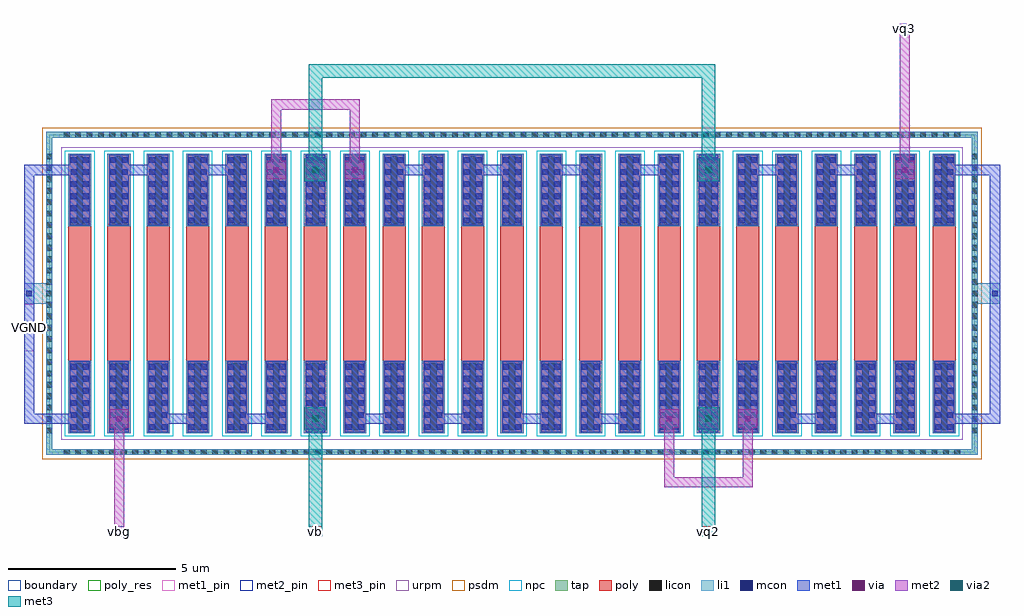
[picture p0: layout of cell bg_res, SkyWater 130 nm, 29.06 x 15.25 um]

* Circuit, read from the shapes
.subckt bg_res VGND vb vbg vq2 vq3
XR1 VGND VGND VGND sky130_fd_pr__res_xhigh_po w=0.69 l=4.04 m=2
XR2 sky130_fd_pr__res_xhigh_po_0p69_CEUZ3P_0/R1_1 vbg VGND sky130_fd_pr__res_xhigh_po w=0.69 l=4.04
XR3 sky130_fd_pr__res_xhigh_po_0p69_CEUZ3P_0/R1_1 sky130_fd_pr__res_xhigh_po_0p69_CEUZ3P_0/R2_2 VGND sky130_fd_pr__res_xhigh_po w=0.69 l=4.04
XR4 sky130_fd_pr__res_xhigh_po_0p69_CEUZ3P_0/R1_3 sky130_fd_pr__res_xhigh_po_0p69_CEUZ3P_0/R2_2 VGND sky130_fd_pr__res_xhigh_po w=0.69 l=4.04
XR5 sky130_fd_pr__res_xhigh_po_0p69_CEUZ3P_0/R1_3 sky130_fd_pr__res_xhigh_po_0p69_CEUZ3P_0/R2_4 VGND sky130_fd_pr__res_xhigh_po w=0.69 l=4.04
XR6 sky130_fd_pr__res_xhigh_po_0p69_CEUZ3P_0/R1_5 sky130_fd_pr__res_xhigh_po_0p69_CEUZ3P_0/R2_4 VGND sky130_fd_pr__res_xhigh_po w=0.69 l=4.04
XR7 sky130_fd_pr__res_xhigh_po_0p69_CEUZ3P_0/R1_16 vb VGND sky130_fd_pr__res_xhigh_po w=0.69 l=4.04
XR8 sky130_fd_pr__res_xhigh_po_0p69_CEUZ3P_0/R1_5 sky130_fd_pr__res_xhigh_po_0p69_CEUZ3P_0/R2_7 VGND sky130_fd_pr__res_xhigh_po w=0.69 l=4.04
XR9 sky130_fd_pr__res_xhigh_po_0p69_CEUZ3P_0/R1_8 sky130_fd_pr__res_xhigh_po_0p69_CEUZ3P_0/R2_7 VGND sky130_fd_pr__res_xhigh_po w=0.69 l=4.04
XR10 sky130_fd_pr__res_xhigh_po_0p69_CEUZ3P_0/R1_8 sky130_fd_pr__res_xhigh_po_0p69_CEUZ3P_0/R2_10 VGND sky130_fd_pr__res_xhigh_po w=0.69 l=4.04
XR11 sky130_fd_pr__res_xhigh_po_0p69_CEUZ3P_0/R1_10 sky130_fd_pr__res_xhigh_po_0p69_CEUZ3P_0/R2_10 VGND sky130_fd_pr__res_xhigh_po w=0.69 l=4.04
XR12 sky130_fd_pr__res_xhigh_po_0p69_CEUZ3P_0/R1_10 sky130_fd_pr__res_xhigh_po_0p69_CEUZ3P_0/R2_11 VGND sky130_fd_pr__res_xhigh_po w=0.69 l=4.04
XR13 sky130_fd_pr__res_xhigh_po_0p69_CEUZ3P_0/R1_12 sky130_fd_pr__res_xhigh_po_0p69_CEUZ3P_0/R2_11 VGND sky130_fd_pr__res_xhigh_po w=0.69 l=4.04
XR14 sky130_fd_pr__res_xhigh_po_0p69_CEUZ3P_0/R1_12 sky130_fd_pr__res_xhigh_po_0p69_CEUZ3P_0/R2_13 VGND sky130_fd_pr__res_xhigh_po w=0.69 l=4.04
XR15 sky130_fd_pr__res_xhigh_po_0p69_CEUZ3P_0/R1_14 sky130_fd_pr__res_xhigh_po_0p69_CEUZ3P_0/R2_13 VGND sky130_fd_pr__res_xhigh_po w=0.69 l=4.04
XR16 sky130_fd_pr__res_xhigh_po_0p69_CEUZ3P_0/R1_14 sky130_fd_pr__res_xhigh_po_0p69_CEUZ3P_0/R2_15 VGND sky130_fd_pr__res_xhigh_po w=0.69 l=4.04
XR17 sky130_fd_pr__res_xhigh_po_0p69_CEUZ3P_0/R1_16 vq2 VGND sky130_fd_pr__res_xhigh_po w=0.69 l=4.04
XR18 sky130_fd_pr__res_xhigh_po_0p69_CEUZ3P_0/R1_17 sky130_fd_pr__res_xhigh_po_0p69_CEUZ3P_0/R2_15 VGND sky130_fd_pr__res_xhigh_po w=0.69 l=4.04
XR19 sky130_fd_pr__res_xhigh_po_0p69_CEUZ3P_0/R1_17 sky130_fd_pr__res_xhigh_po_0p69_CEUZ3P_0/R2_18 VGND sky130_fd_pr__res_xhigh_po w=0.69 l=4.04
XR20 sky130_fd_pr__res_xhigh_po_0p69_CEUZ3P_0/R1_19 sky130_fd_pr__res_xhigh_po_0p69_CEUZ3P_0/R2_18 VGND sky130_fd_pr__res_xhigh_po w=0.69 l=4.04
XR21 sky130_fd_pr__res_xhigh_po_0p69_CEUZ3P_0/R1_19 sky130_fd_pr__res_xhigh_po_0p69_CEUZ3P_0/R2_20 VGND sky130_fd_pr__res_xhigh_po w=0.69 l=4.04
XR22 vq3 sky130_fd_pr__res_xhigh_po_0p69_CEUZ3P_0/R2_20 VGND sky130_fd_pr__res_xhigh_po w=0.69 l=4.04
.ends

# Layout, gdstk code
import gdstk
lib = gdstk.Library(unit=1e-6, precision=1e-09)
def R(c, l, rs):  # rectangles x0, y0, x1, y1
    for r in rs: c.add(gdstk.rectangle(r[:2], r[2:], *l))
def A(c, l, x, y, w, h, nx, ny, dx, dy):  # array of equal rectangles
    R(c, l, [(x+i*dx, y+j*dy, x+i*dx+w, y+j*dy+h) for i in range(nx) for j in range(ny)])
tap = (65, 44)
poly_res = (66, 13)
poly = (66, 20)
licon = (66, 44)
li1 = (67, 20)
mcon = (67, 44)
met1_pin = (68, 16)
met1 = (68, 20)
via = (68, 44)
met2_pin = (69, 16)
met2 = (69, 20)
via2 = (69, 44)
met3_pin = (70, 16)
met3 = (70, 20)
urpm = (79, 20)
psdm = (94, 20)
npc = (95, 20)
boundary = (235, 4)

sky130_fd_pr__res_xhigh_ = lib.new_cell('sky130_fd_pr__res_xhigh_po_0p69_CEUZ3P')
R(sky130_fd_pr__res_xhigh_, tap, [(-13.865,-4.81,13.865,-4.64), (-13.865,-4.64,-13.695,4.64), (13.695,-4.64,13.865,4.64), (-13.865,4.64,13.865,4.81)])
A(sky130_fd_pr__res_xhigh_, poly_res, -13.215, -2.08, 0.69, 4.16, 23, 1, 1.17, 0)
A(sky130_fd_pr__res_xhigh_, poly, -13.215, -4.16, 0.69, 8.32, 23, 1, 1.17, 0)
A(sky130_fd_pr__res_xhigh_, licon, -13.345, -4.81, 0.17, 0.17, 79, 2, 0.34, 9.45)
A(sky130_fd_pr__res_xhigh_, licon, -13.865, -4.165, 0.17, 0.17, 1, 25, 0, 0.34)
A(sky130_fd_pr__res_xhigh_, licon, 13.695, -4.165, 0.17, 0.17, 1, 25, 0, 0.34)
A(sky130_fd_pr__res_xhigh_, licon, -12.965, -4.08, 0.19, 2, 23, 2, 1.17, 6.16)
A(sky130_fd_pr__res_xhigh_, li1, -13.215, -4.16, 0.69, 2.16, 23, 2, 1.17, 6.16)
R(sky130_fd_pr__res_xhigh_, li1, [(-13.865,-4.81,13.865,-4.64), (-13.865,-4.64,-13.695,4.64), (13.695,-4.64,13.865,4.64), (-13.865,4.64,13.865,4.81)])
A(sky130_fd_pr__res_xhigh_, mcon, -13.135, -4.065, 0.17, 0.17, 1, 6, 0, 0.36)
A(sky130_fd_pr__res_xhigh_, mcon, -12.775, -4.065, 0.17, 0.17, 1, 6, 0, 0.36)
A(sky130_fd_pr__res_xhigh_, mcon, -11.965, -4.065, 0.17, 0.17, 1, 6, 0, 0.36)
A(sky130_fd_pr__res_xhigh_, mcon, -11.605, -4.065, 0.17, 0.17, 1, 6, 0, 0.36)
A(sky130_fd_pr__res_xhigh_, mcon, -10.795, -4.065, 0.17, 0.17, 1, 6, 0, 0.36)
A(sky130_fd_pr__res_xhigh_, mcon, -10.435, -4.065, 0.17, 0.17, 1, 6, 0, 0.36)
A(sky130_fd_pr__res_xhigh_, mcon, -9.625, -4.065, 0.17, 0.17, 1, 6, 0, 0.36)
A(sky130_fd_pr__res_xhigh_, mcon, -9.265, -4.065, 0.17, 0.17, 1, 6, 0, 0.36)
A(sky130_fd_pr__res_xhigh_, mcon, -8.455, -4.065, 0.17, 0.17, 1, 6, 0, 0.36)
A(sky130_fd_pr__res_xhigh_, mcon, -8.095, -4.065, 0.17, 0.17, 1, 6, 0, 0.36)
A(sky130_fd_pr__res_xhigh_, mcon, -7.285, -4.065, 0.17, 0.17, 1, 6, 0, 0.36)
A(sky130_fd_pr__res_xhigh_, mcon, -6.925, -4.065, 0.17, 0.17, 1, 6, 0, 0.36)
A(sky130_fd_pr__res_xhigh_, mcon, -6.115, -4.065, 0.17, 0.17, 1, 6, 0, 0.36)
A(sky130_fd_pr__res_xhigh_, mcon, -5.755, -4.065, 0.17, 0.17, 1, 6, 0, 0.36)
A(sky130_fd_pr__res_xhigh_, mcon, -4.945, -4.065, 0.17, 0.17, 1, 6, 0, 0.36)
A(sky130_fd_pr__res_xhigh_, mcon, -4.585, -4.065, 0.17, 0.17, 1, 6, 0, 0.36)
A(sky130_fd_pr__res_xhigh_, mcon, -3.775, -4.065, 0.17, 0.17, 1, 6, 0, 0.36)
A(sky130_fd_pr__res_xhigh_, mcon, -3.415, -4.065, 0.17, 0.17, 1, 6, 0, 0.36)
A(sky130_fd_pr__res_xhigh_, mcon, -2.605, -4.065, 0.17, 0.17, 1, 6, 0, 0.36)
A(sky130_fd_pr__res_xhigh_, mcon, -2.245, -4.065, 0.17, 0.17, 1, 6, 0, 0.36)
A(sky130_fd_pr__res_xhigh_, mcon, -1.435, -4.065, 0.17, 0.17, 1, 6, 0, 0.36)
A(sky130_fd_pr__res_xhigh_, mcon, -1.075, -4.065, 0.17, 0.17, 1, 6, 0, 0.36)
A(sky130_fd_pr__res_xhigh_, mcon, -0.265, -4.065, 0.17, 0.17, 1, 6, 0, 0.36)
A(sky130_fd_pr__res_xhigh_, mcon, 0.095, -4.065, 0.17, 0.17, 1, 6, 0, 0.36)
A(sky130_fd_pr__res_xhigh_, mcon, 0.905, -4.065, 0.17, 0.17, 1, 6, 0, 0.36)
A(sky130_fd_pr__res_xhigh_, mcon, 1.265, -4.065, 0.17, 0.17, 1, 6, 0, 0.36)
A(sky130_fd_pr__res_xhigh_, mcon, 2.075, -4.065, 0.17, 0.17, 1, 6, 0, 0.36)
A(sky130_fd_pr__res_xhigh_, mcon, 2.435, -4.065, 0.17, 0.17, 1, 6, 0, 0.36)
A(sky130_fd_pr__res_xhigh_, mcon, 3.245, -4.065, 0.17, 0.17, 1, 6, 0, 0.36)
A(sky130_fd_pr__res_xhigh_, mcon, 3.605, -4.065, 0.17, 0.17, 1, 6, 0, 0.36)
A(sky130_fd_pr__res_xhigh_, mcon, 4.415, -4.065, 0.17, 0.17, 1, 6, 0, 0.36)
A(sky130_fd_pr__res_xhigh_, mcon, 4.775, -4.065, 0.17, 0.17, 1, 6, 0, 0.36)
A(sky130_fd_pr__res_xhigh_, mcon, 5.585, -4.065, 0.17, 0.17, 1, 6, 0, 0.36)
A(sky130_fd_pr__res_xhigh_, mcon, 5.945, -4.065, 0.17, 0.17, 1, 6, 0, 0.36)
A(sky130_fd_pr__res_xhigh_, mcon, 6.755, -4.065, 0.17, 0.17, 1, 6, 0, 0.36)
A(sky130_fd_pr__res_xhigh_, mcon, 7.115, -4.065, 0.17, 0.17, 1, 6, 0, 0.36)
A(sky130_fd_pr__res_xhigh_, mcon, 7.925, -4.065, 0.17, 0.17, 1, 6, 0, 0.36)
A(sky130_fd_pr__res_xhigh_, mcon, 8.285, -4.065, 0.17, 0.17, 1, 6, 0, 0.36)
A(sky130_fd_pr__res_xhigh_, mcon, 9.095, -4.065, 0.17, 0.17, 1, 6, 0, 0.36)
A(sky130_fd_pr__res_xhigh_, mcon, 9.455, -4.065, 0.17, 0.17, 1, 6, 0, 0.36)
A(sky130_fd_pr__res_xhigh_, mcon, 10.265, -4.065, 0.17, 0.17, 1, 6, 0, 0.36)
A(sky130_fd_pr__res_xhigh_, mcon, 10.625, -4.065, 0.17, 0.17, 1, 6, 0, 0.36)
A(sky130_fd_pr__res_xhigh_, mcon, 11.435, -4.065, 0.17, 0.17, 1, 6, 0, 0.36)
A(sky130_fd_pr__res_xhigh_, mcon, 11.795, -4.065, 0.17, 0.17, 1, 6, 0, 0.36)
A(sky130_fd_pr__res_xhigh_, mcon, 12.605, -4.065, 0.17, 0.17, 1, 6, 0, 0.36)
A(sky130_fd_pr__res_xhigh_, mcon, 12.965, -4.065, 0.17, 0.17, 1, 6, 0, 0.36)
A(sky130_fd_pr__res_xhigh_, mcon, -13.135, 2.09, 0.17, 0.17, 1, 6, 0, 0.36)
A(sky130_fd_pr__res_xhigh_, mcon, -12.775, 2.09, 0.17, 0.17, 1, 6, 0, 0.36)
A(sky130_fd_pr__res_xhigh_, mcon, -11.965, 2.09, 0.17, 0.17, 1, 6, 0, 0.36)
A(sky130_fd_pr__res_xhigh_, mcon, -11.605, 2.09, 0.17, 0.17, 1, 6, 0, 0.36)
A(sky130_fd_pr__res_xhigh_, mcon, -10.795, 2.09, 0.17, 0.17, 1, 6, 0, 0.36)
A(sky130_fd_pr__res_xhigh_, mcon, -10.435, 2.09, 0.17, 0.17, 1, 6, 0, 0.36)
A(sky130_fd_pr__res_xhigh_, mcon, -9.625, 2.09, 0.17, 0.17, 1, 6, 0, 0.36)
A(sky130_fd_pr__res_xhigh_, mcon, -9.265, 2.09, 0.17, 0.17, 1, 6, 0, 0.36)
A(sky130_fd_pr__res_xhigh_, mcon, -8.455, 2.09, 0.17, 0.17, 1, 6, 0, 0.36)
A(sky130_fd_pr__res_xhigh_, mcon, -8.095, 2.09, 0.17, 0.17, 1, 6, 0, 0.36)
A(sky130_fd_pr__res_xhigh_, mcon, -7.285, 2.09, 0.17, 0.17, 1, 6, 0, 0.36)
A(sky130_fd_pr__res_xhigh_, mcon, -6.925, 2.09, 0.17, 0.17, 1, 6, 0, 0.36)
A(sky130_fd_pr__res_xhigh_, mcon, -6.115, 2.09, 0.17, 0.17, 1, 6, 0, 0.36)
A(sky130_fd_pr__res_xhigh_, mcon, -5.755, 2.09, 0.17, 0.17, 1, 6, 0, 0.36)
A(sky130_fd_pr__res_xhigh_, mcon, -4.945, 2.09, 0.17, 0.17, 1, 6, 0, 0.36)
A(sky130_fd_pr__res_xhigh_, mcon, -4.585, 2.09, 0.17, 0.17, 1, 6, 0, 0.36)
A(sky130_fd_pr__res_xhigh_, mcon, -3.775, 2.09, 0.17, 0.17, 1, 6, 0, 0.36)
A(sky130_fd_pr__res_xhigh_, mcon, -3.415, 2.09, 0.17, 0.17, 1, 6, 0, 0.36)
A(sky130_fd_pr__res_xhigh_, mcon, -2.605, 2.09, 0.17, 0.17, 1, 6, 0, 0.36)
A(sky130_fd_pr__res_xhigh_, mcon, -2.245, 2.09, 0.17, 0.17, 1, 6, 0, 0.36)
A(sky130_fd_pr__res_xhigh_, mcon, -1.435, 2.09, 0.17, 0.17, 1, 6, 0, 0.36)
A(sky130_fd_pr__res_xhigh_, mcon, -1.075, 2.09, 0.17, 0.17, 1, 6, 0, 0.36)
A(sky130_fd_pr__res_xhigh_, mcon, -0.265, 2.09, 0.17, 0.17, 1, 6, 0, 0.36)
A(sky130_fd_pr__res_xhigh_, mcon, 0.095, 2.09, 0.17, 0.17, 1, 6, 0, 0.36)
A(sky130_fd_pr__res_xhigh_, mcon, 0.905, 2.09, 0.17, 0.17, 1, 6, 0, 0.36)
A(sky130_fd_pr__res_xhigh_, mcon, 1.265, 2.09, 0.17, 0.17, 1, 6, 0, 0.36)
A(sky130_fd_pr__res_xhigh_, mcon, 2.075, 2.09, 0.17, 0.17, 1, 6, 0, 0.36)
A(sky130_fd_pr__res_xhigh_, mcon, 2.435, 2.09, 0.17, 0.17, 1, 6, 0, 0.36)
A(sky130_fd_pr__res_xhigh_, mcon, 3.245, 2.09, 0.17, 0.17, 1, 6, 0, 0.36)
A(sky130_fd_pr__res_xhigh_, mcon, 3.605, 2.09, 0.17, 0.17, 1, 6, 0, 0.36)
A(sky130_fd_pr__res_xhigh_, mcon, 4.415, 2.09, 0.17, 0.17, 1, 6, 0, 0.36)
A(sky130_fd_pr__res_xhigh_, mcon, 4.775, 2.09, 0.17, 0.17, 1, 6, 0, 0.36)
A(sky130_fd_pr__res_xhigh_, mcon, 5.585, 2.09, 0.17, 0.17, 1, 6, 0, 0.36)
A(sky130_fd_pr__res_xhigh_, mcon, 5.945, 2.09, 0.17, 0.17, 1, 6, 0, 0.36)
A(sky130_fd_pr__res_xhigh_, mcon, 6.755, 2.09, 0.17, 0.17, 1, 6, 0, 0.36)
A(sky130_fd_pr__res_xhigh_, mcon, 7.115, 2.09, 0.17, 0.17, 1, 6, 0, 0.36)
A(sky130_fd_pr__res_xhigh_, mcon, 7.925, 2.09, 0.17, 0.17, 1, 6, 0, 0.36)
A(sky130_fd_pr__res_xhigh_, mcon, 8.285, 2.09, 0.17, 0.17, 1, 6, 0, 0.36)
A(sky130_fd_pr__res_xhigh_, mcon, 9.095, 2.09, 0.17, 0.17, 1, 6, 0, 0.36)
A(sky130_fd_pr__res_xhigh_, mcon, 9.455, 2.09, 0.17, 0.17, 1, 6, 0, 0.36)
A(sky130_fd_pr__res_xhigh_, mcon, 10.265, 2.09, 0.17, 0.17, 1, 6, 0, 0.36)
A(sky130_fd_pr__res_xhigh_, mcon, 10.625, 2.09, 0.17, 0.17, 1, 6, 0, 0.36)
A(sky130_fd_pr__res_xhigh_, mcon, 11.435, 2.09, 0.17, 0.17, 1, 6, 0, 0.36)
A(sky130_fd_pr__res_xhigh_, mcon, 11.795, 2.09, 0.17, 0.17, 1, 6, 0, 0.36)
A(sky130_fd_pr__res_xhigh_, mcon, 12.605, 2.09, 0.17, 0.17, 1, 6, 0, 0.36)
A(sky130_fd_pr__res_xhigh_, mcon, 12.965, 2.09, 0.17, 0.17, 1, 6, 0, 0.36)
A(sky130_fd_pr__res_xhigh_, met1, -13.165, -4.13, 0.59, 2.105, 23, 2, 1.17, 6.155)
R(sky130_fd_pr__res_xhigh_, urpm, [(-13.415,-4.36,13.415,4.36)])
R(sky130_fd_pr__res_xhigh_, psdm, [(-13.99,-4.935,13.99,4.935)])
A(sky130_fd_pr__res_xhigh_, npc, -13.31, -4.255, 0.88, 8.51, 23, 1, 1.17, 0)
R(sky130_fd_pr__res_xhigh_, boundary, [(-13.78,-4.725,13.78,4.725)])
sky130_fd_pr__res_xhigh_.add(gdstk.Label('B', (0,-4.725), layer=67, texttype=5))
sky130_fd_pr__res_xhigh_.add(gdstk.Label('R1_0', (-12.87,3.985), layer=67, texttype=5))
sky130_fd_pr__res_xhigh_.add(gdstk.Label('R2_0', (-12.87,-3.985), layer=67, texttype=5))
sky130_fd_pr__res_xhigh_.add(gdstk.Label('R1_1', (-11.7,3.985), layer=67, texttype=5))
sky130_fd_pr__res_xhigh_.add(gdstk.Label('R2_1', (-11.7,-3.985), layer=67, texttype=5))
sky130_fd_pr__res_xhigh_.add(gdstk.Label('R1_2', (-10.53,3.985), layer=67, texttype=5))
sky130_fd_pr__res_xhigh_.add(gdstk.Label('R2_2', (-10.53,-3.985), layer=67, texttype=5))
sky130_fd_pr__res_xhigh_.add(gdstk.Label('R1_3', (-9.36,3.985), layer=67, texttype=5))
sky130_fd_pr__res_xhigh_.add(gdstk.Label('R2_3', (-9.36,-3.985), layer=67, texttype=5))
sky130_fd_pr__res_xhigh_.add(gdstk.Label('R1_4', (-8.19,3.985), layer=67, texttype=5))
sky130_fd_pr__res_xhigh_.add(gdstk.Label('R2_4', (-8.19,-3.985), layer=67, texttype=5))
sky130_fd_pr__res_xhigh_.add(gdstk.Label('R1_5', (-7.02,3.985), layer=67, texttype=5))
sky130_fd_pr__res_xhigh_.add(gdstk.Label('R2_5', (-7.02,-3.985), layer=67, texttype=5))
sky130_fd_pr__res_xhigh_.add(gdstk.Label('R1_6', (-5.85,3.985), layer=67, texttype=5))
sky130_fd_pr__res_xhigh_.add(gdstk.Label('R2_6', (-5.85,-3.985), layer=67, texttype=5))
sky130_fd_pr__res_xhigh_.add(gdstk.Label('R1_7', (-4.68,3.985), layer=67, texttype=5))
sky130_fd_pr__res_xhigh_.add(gdstk.Label('R2_7', (-4.68,-3.985), layer=67, texttype=5))
sky130_fd_pr__res_xhigh_.add(gdstk.Label('R1_8', (-3.51,3.985), layer=67, texttype=5))
sky130_fd_pr__res_xhigh_.add(gdstk.Label('R2_8', (-3.51,-3.985), layer=67, texttype=5))
sky130_fd_pr__res_xhigh_.add(gdstk.Label('R1_9', (-2.34,3.985), layer=67, texttype=5))
sky130_fd_pr__res_xhigh_.add(gdstk.Label('R2_9', (-2.34,-3.985), layer=67, texttype=5))
sky130_fd_pr__res_xhigh_.add(gdstk.Label('R1_10', (-1.17,3.985), layer=67, texttype=5))
sky130_fd_pr__res_xhigh_.add(gdstk.Label('R2_10', (-1.17,-3.985), layer=67, texttype=5))
sky130_fd_pr__res_xhigh_.add(gdstk.Label('R1_11', (0,3.985), layer=67, texttype=5))
sky130_fd_pr__res_xhigh_.add(gdstk.Label('R2_11', (0,-3.985), layer=67, texttype=5))
sky130_fd_pr__res_xhigh_.add(gdstk.Label('R1_12', (1.17,3.985), layer=67, texttype=5))
sky130_fd_pr__res_xhigh_.add(gdstk.Label('R2_12', (1.17,-3.985), layer=67, texttype=5))
sky130_fd_pr__res_xhigh_.add(gdstk.Label('R1_13', (2.34,3.985), layer=67, texttype=5))
sky130_fd_pr__res_xhigh_.add(gdstk.Label('R2_13', (2.34,-3.985), layer=67, texttype=5))
sky130_fd_pr__res_xhigh_.add(gdstk.Label('R1_14', (3.51,3.985), layer=67, texttype=5))
sky130_fd_pr__res_xhigh_.add(gdstk.Label('R2_14', (3.51,-3.985), layer=67, texttype=5))
sky130_fd_pr__res_xhigh_.add(gdstk.Label('R1_15', (4.68,3.985), layer=67, texttype=5))
sky130_fd_pr__res_xhigh_.add(gdstk.Label('R2_15', (4.68,-3.985), layer=67, texttype=5))
sky130_fd_pr__res_xhigh_.add(gdstk.Label('R1_16', (5.85,3.985), layer=67, texttype=5))
sky130_fd_pr__res_xhigh_.add(gdstk.Label('R2_16', (5.85,-3.985), layer=67, texttype=5))
sky130_fd_pr__res_xhigh_.add(gdstk.Label('R1_17', (7.02,3.985), layer=67, texttype=5))
sky130_fd_pr__res_xhigh_.add(gdstk.Label('R2_17', (7.02,-3.985), layer=67, texttype=5))
sky130_fd_pr__res_xhigh_.add(gdstk.Label('R1_18', (8.19,3.985), layer=67, texttype=5))
sky130_fd_pr__res_xhigh_.add(gdstk.Label('R2_18', (8.19,-3.985), layer=67, texttype=5))
sky130_fd_pr__res_xhigh_.add(gdstk.Label('R1_19', (9.36,3.985), layer=67, texttype=5))
sky130_fd_pr__res_xhigh_.add(gdstk.Label('R2_19', (9.36,-3.985), layer=67, texttype=5))
sky130_fd_pr__res_xhigh_.add(gdstk.Label('R1_20', (10.53,3.985), layer=67, texttype=5))
sky130_fd_pr__res_xhigh_.add(gdstk.Label('R2_20', (10.53,-3.985), layer=67, texttype=5))
sky130_fd_pr__res_xhigh_.add(gdstk.Label('R1_21', (11.7,3.985), layer=67, texttype=5))
sky130_fd_pr__res_xhigh_.add(gdstk.Label('R2_21', (11.7,-3.985), layer=67, texttype=5))
sky130_fd_pr__res_xhigh_.add(gdstk.Label('R1_22', (12.87,3.985), layer=67, texttype=5))
sky130_fd_pr__res_xhigh_.add(gdstk.Label('R2_22', (12.87,-3.985), layer=67, texttype=5))

bg_res = lib.new_cell('bg_res')
R(bg_res, li1, [(-0.75,4.425,0.085,5.025), (27.475,4.425,28.31,5.025)])
R(bg_res, mcon, [(-0.685,4.64,-0.515,4.81), (28.075,4.64,28.245,4.81)])
R(bg_res, met1_pin, [(-0.75,3,-0.45,4.4)])
A(bg_res, met1, 18.21, 0.75, 0.5, 0.5, 3, 1, 1.17, 0)
A(bg_res, met1, 8.975, 0.85, 1.42, 0.3, 4, 1, 2.34, 0)
A(bg_res, met1, 6.51, 8.15, 0.5, 0.5, 3, 1, 1.17, 0)
A(bg_res, met1, 10.145, 8.25, 1.42, 0.3, 4, 1, 2.34, 0)
R(bg_res, met1, [(1.83,0.75,2.33,1.25), (7.68,0.75,8.18,1.25), (-0.75,0.85,1.035,1.15), (3.125,0.85,4.545,1.15), (5.465,0.85,6.885,1.15), (21.845,0.85,23.265,1.15), (24.185,0.85,25.605,1.15), (26.525,0.85,28.31,1.15), (-0.75,1.15,-0.45,8.25), (28.01,1.15,28.31,8.25), (19.38,8.15,19.88,8.65), (25.23,8.15,25.73,8.65), (-0.75,8.25,1.035,8.55), (1.955,8.25,3.375,8.55), (4.295,8.25,5.715,8.55), (20.675,8.25,22.095,8.55), (23.015,8.25,24.435,8.55), (26.525,8.25,28.31,8.55)])
A(bg_res, via, 18.385, 0.925, 0.15, 0.15, 3, 1, 1.17, 0)
A(bg_res, via, 6.685, 8.325, 0.15, 0.15, 3, 1, 1.17, 0)
R(bg_res, via, [(2.005,0.925,2.155,1.075), (7.855,0.925,8.005,1.075), (19.555,8.325,19.705,8.475), (25.405,8.325,25.555,8.475)])
R(bg_res, met2_pin, [(1.93,-2.5,2.23,-2.2), (25.33,12.45,25.63,12.75)])
A(bg_res, met2, 18.18, 0.72, 0.56, 0.56, 3, 1, 1.17, 0)
A(bg_res, met2, 6.48, 8.12, 0.56, 0.56, 3, 1, 1.17, 0)
R(bg_res, met2, [(1.93,-2.5,2.23,0.72), (18.31,-1.05,20.95,-0.75), (18.31,-0.75,18.61,0.72), (20.65,-0.75,20.95,0.72), (1.8,0.72,2.36,1.28), (7.65,0.72,8.21,1.28), (19.35,8.12,19.91,8.68), (25.2,8.12,25.76,8.68), (6.61,8.68,6.91,10.2), (8.95,8.68,9.25,10.2), (25.33,8.68,25.63,12.75), (6.61,10.2,9.25,10.5)])
R(bg_res, via2, [(7.83,0.9,8.03,1.1), (19.53,0.9,19.73,1.1), (7.83,8.3,8.03,8.5), (19.53,8.3,19.73,8.5)])
R(bg_res, met3_pin, [(7.73,-2.5,8.13,-2.2), (19.43,-2.5,19.83,-2.2)])
R(bg_res, met3, [(7.73,-2.5,8.13,0.67), (19.43,-2.5,19.83,0.67), (7.6,0.67,8.26,1.33), (19.3,0.67,19.96,1.33), (7.6,8.07,8.26,8.73), (19.3,8.07,19.96,8.73), (7.73,8.73,8.13,11.15), (19.43,8.73,19.83,11.15), (7.73,11.15,19.83,11.55)])
bg_res.add(gdstk.Reference(sky130_fd_pr__res_xhigh_, (13.78,4.725)))
bg_res.add(gdstk.Label('vbg', (2.08,-2.35), layer=69, texttype=5))
bg_res.add(gdstk.Label('vq3', (25.48,12.6), layer=69, texttype=5))
bg_res.add(gdstk.Label('vb', (7.93,-2.35), layer=70, texttype=5))
bg_res.add(gdstk.Label('vq2', (19.63,-2.35), layer=70, texttype=5))
bg_res.add(gdstk.Label('VGND', (-0.6,3.7), layer=68, texttype=5))

lib.write_gds('bg_res.gds')
